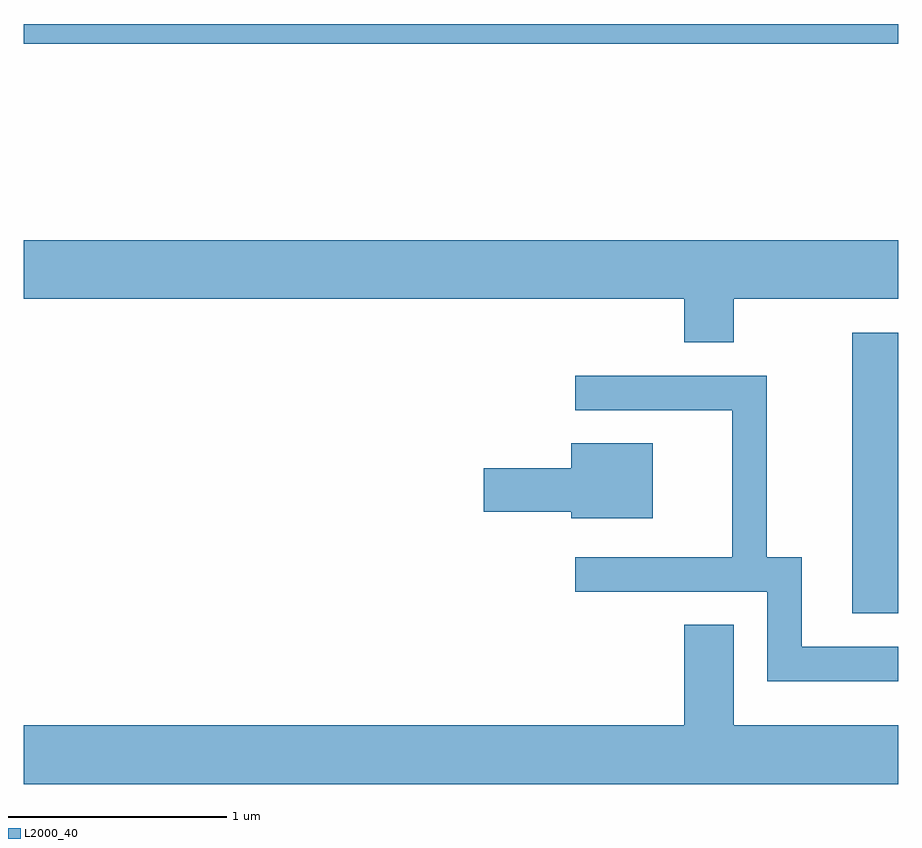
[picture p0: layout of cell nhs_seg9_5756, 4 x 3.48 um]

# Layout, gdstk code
import gdstk
lib = gdstk.Library(unit=1e-6, precision=1e-09)
def R(c, l, rs):  # rectangles x0, y0, x1, y1
    for r in rs: c.add(gdstk.rectangle(r[:2], r[2:], *l))
def P(c, l, *ps):  # polygons
    for p in ps: c.add(gdstk.Polygon(p, *l))
L2000_40 = (2000, 40)

nhs_seg9_5756 = lib.new_cell('nhs_seg9_5756')
R(nhs_seg9_5756, L2000_40, [(359.401,1963.736,359.611,1965.019), (355.611,1966.341,359.611,1966.432)])
P(nhs_seg9_5756, L2000_40, [(358.859,1965.176),(359.611,1965.176),(359.611,1965.444),(355.611,1965.444),(355.611,1965.176),(358.631,1965.176),(358.631,1964.976),(358.859,1964.976)],
  [(359.611,1963.584),(359.169,1963.584),(359.169,1963.994),(359.009,1963.994),(359.009,1964.824),(358.133,1964.824),(358.133,1964.666),(358.851,1964.666),(358.851,1963.994),(358.133,1963.994),(358.133,1963.836),(359.011,1963.836),(359.011,1963.426),(359.611,1963.426)],
  [(358.489,1964.514),(358.116,1964.514),(358.116,1964.399),(357.716,1964.399),(357.716,1964.201),(358.116,1964.201),(358.116,1964.171),(358.489,1964.171)],
  [(359.611,1963.224),(358.859,1963.224),(358.859,1963.684),(358.631,1963.684),(358.631,1963.224),(355.611,1963.224),(355.611,1962.956),(359.611,1962.956)])

lib.write_gds('nhs_seg9_5756.gds')
